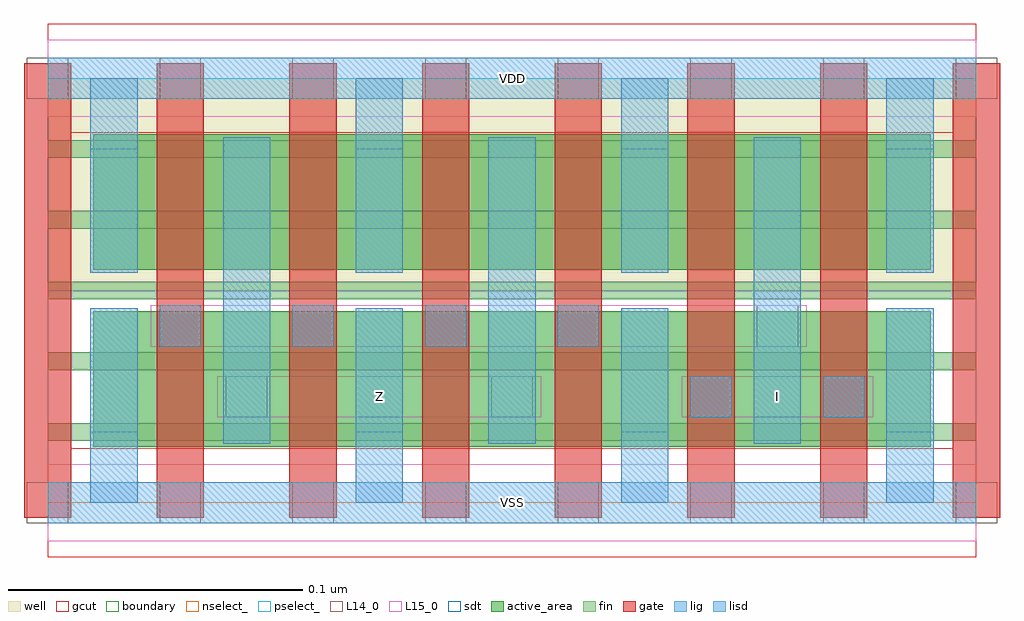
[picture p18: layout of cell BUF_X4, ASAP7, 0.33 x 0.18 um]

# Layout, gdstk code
import gdstk
lib = gdstk.Library(unit=1e-6, precision=2.5e-10)
def R(c, l, rs):  # rectangles x0, y0, x1, y1
    for r in rs: c.add(gdstk.rectangle(r[:2], r[2:], *l))
def A(c, l, x, y, w, h, nx, ny, dx, dy):  # array of equal rectangles
    R(c, l, [(x+i*dx, y+j*dy, x+i*dx+w, y+j*dy+h) for i in range(nx) for j in range(ny)])
well = (1, 0)
fin = (2, 0)
gate = (7, 0)
gcut = (10, 0)
active_area = (11, 0)
nselect_ = (12, 0)
pselect_ = (13, 0)
L14_0 = (14, 0)
L15_0 = (15, 0)
lig = (16, 0)
lisd = (17, 0)
sdt = (88, 0)
boundary = (100, 0)

buf_x4 = lib.new_cell('BUF_X4')
R(buf_x4, well, [(0,0.072,0.315,0.144)])
A(buf_x4, fin, 0, 0.021, 0.315, 0.006, 1, 5, 0, 0.024)
A(buf_x4, gate, -0.008, -0.005, 0.016, 0.154, 8, 1, 0.045, 0)
R(buf_x4, gcut, [(0,-0.0185,0.315,0.0185), (-0.008,-0.005,0.008,0.149), (0.307,-0.005,0.323,0.149), (0,0.1255,0.315,0.1625)])
A(buf_x4, active_area, 0.0155, 0.019, 0.059, 0.046, 6, 2, 0.045, 0.06)
R(buf_x4, nselect_, [(0,0,0.315,0.072)])
R(buf_x4, pselect_, [(0,0.072,0.315,0.144)])
A(buf_x4, L14_0, -0.007, -0.007, 0.014, 0.014, 8, 2, 0.045, 0.144)
A(buf_x4, L14_0, 0.038, 0.053, 0.014, 0.014, 4, 1, 0.045, 0)
R(buf_x4, L14_0, [(0.0605,0.029,0.0745,0.043), (0.1505,0.029,0.1645,0.043), (0.218,0.029,0.232,0.043), (0.263,0.029,0.277,0.043), (0.2405,0.053,0.2545,0.067)])
R(buf_x4, L15_0, [(0,-0.013,0.315,0.013), (0.0575,0.029,0.1675,0.043), (0.215,0.029,0.28,0.043), (0.035,0.053,0.2575,0.067), (0,0.131,0.315,0.157)])
A(buf_x4, lig, 0.038, 0.053, 0.014, 0.014, 4, 1, 0.045, 0)
R(buf_x4, lig, [(0,-0.007,0.315,0.007), (0.218,0.029,0.232,0.043), (0.263,0.029,0.277,0.043), (0,0.137,0.315,0.151)])
R(buf_x4, lisd, [(0.0145,0,0.0305,0.066), (0.1045,0,0.1205,0.066), (0.1045,0,0.1205,0.066), (0.1945,0,0.2105,0.066), (0.1945,0,0.2105,0.066), (0.2845,0,0.3005,0.066), (0.0595,0.02,0.0755,0.124), (0.0595,0.02,0.0755,0.124), (0.1495,0.02,0.1655,0.124), (0.1495,0.02,0.1655,0.124), (0.2395,0.02,0.2555,0.124), (0.2395,0.02,0.2555,0.124), (0.0145,0.078,0.0305,0.144), (0.1045,0.078,0.1205,0.144), (0.1045,0.078,0.1205,0.144), (0.1945,0.078,0.2105,0.144), (0.1945,0.078,0.2105,0.144), (0.2845,0.078,0.3005,0.144)])
R(buf_x4, sdt, [(0.0595,0.02,0.0755,0.124), (0.0595,0.02,0.0755,0.124), (0.1495,0.02,0.1655,0.124), (0.1495,0.02,0.1655,0.124), (0.2395,0.02,0.2555,0.124), (0.2395,0.02,0.2555,0.124), (0.0145,0.024,0.0305,0.066), (0.1045,0.024,0.1205,0.066), (0.1045,0.024,0.1205,0.066), (0.1945,0.024,0.2105,0.066), (0.1945,0.024,0.2105,0.066), (0.2845,0.024,0.3005,0.066), (0.0145,0.078,0.0305,0.12), (0.1045,0.078,0.1205,0.12), (0.1045,0.078,0.1205,0.12), (0.1945,0.078,0.2105,0.12), (0.1945,0.078,0.2105,0.12), (0.2845,0.078,0.3005,0.12)])
R(buf_x4, boundary, [(0,0,0.315,0.144)])
buf_x4.add(gdstk.Label('VDD', (0.1575,0.144), layer=1, texttype=251))
buf_x4.add(gdstk.Label('VSS', (0.1575,0), layer=3, texttype=251))
buf_x4.add(gdstk.Label('Z', (0.1125,0.036), layer=15, texttype=251))
buf_x4.add(gdstk.Label('I', (0.2475,0.036), layer=15, texttype=251))
buf_x4.add(gdstk.Label('VSS', (0.1575,0), layer=15, texttype=251))
buf_x4.add(gdstk.Label('VDD', (0.1575,0.144), layer=15, texttype=251))

lib.write_gds('BUF_X4.gds')
